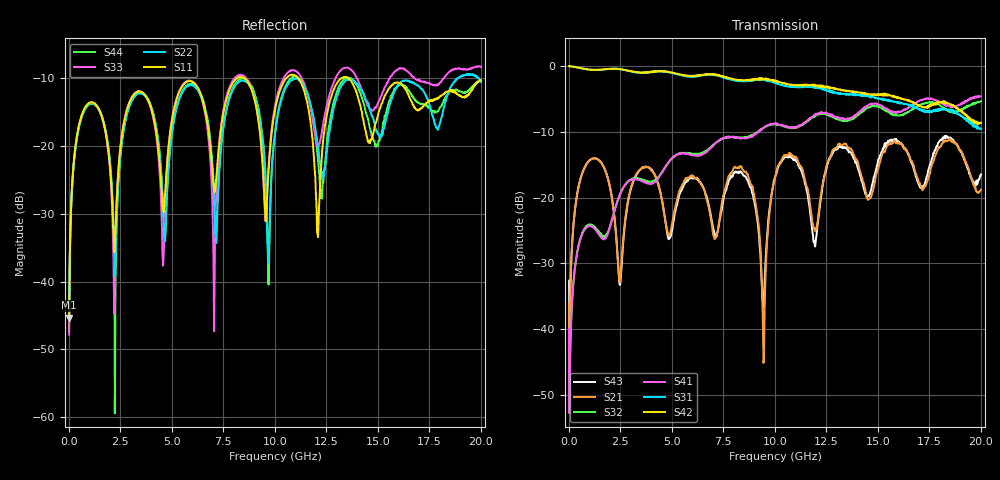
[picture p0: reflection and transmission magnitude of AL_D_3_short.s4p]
! FILE: C:\Documents and Settings\PLTS\デスクトップ\PED\GSGSG_500um\AL_D_3_short.s4p
# MHz S MA R 50.00
! FREQ  S11  S12  S13  S14
!  S21  S22  S23  S24
!  S31  S32  S33  S34
!  S41  S42  S43  S44
!  MAG  ANG  MAG  ANG  MAG  ANG  MAG  ANG
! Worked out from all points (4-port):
!   2000 points, 10 MHz to 20 GHz, reference 50 ohm
!   strongest paths, dB at 10 MHz, 5.01 GHz, 10.01 GHz, 15.01 GHz, 20 GHz:
!     S42: 0.0, -1.0, -2.3, -4.3, -8.7
!     S31: 0.0, -1.1, -2.6, -4.9, -9.6
!     S41: -39.9, -14.0, -8.8, -5.8, -4.6
!     S32: -43.4, -14.0, -8.8, -6.1, -5.3
!     S21: -36.0, -24.0, -16.9, -15.6, -18.8
!     S43: -32.6, -25.0, -16.9, -14.3, -16.5
!   lowest |S11| = -45.3 dB at 10 MHz (marker M1), VSWR 1.01, Z = 50 + j0.543 ohm
!   |S11| at or under -10 dB: start of sweep to 8.164 GHz; 11.12 GHz to 13.22 GHz (2.098 GHz wide, 17.2 % of centre); 13.56 GHz to end of sweep (the widest 3 of 4)
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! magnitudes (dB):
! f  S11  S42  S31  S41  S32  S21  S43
! 10 MHz  -45.3  0.0  0.0  -39.9  -43.4  -36.0  -32.6
! 1 GHz  -13.6  -0.5  -0.6  -24.3  -24.3  -14.4  -14.3
! 2.23 GHz  -34.8  -0.4  -0.4  -21.8  -21.8  -23.7  -23.5
! 3.34 GHz  -12.0  -1.0  -1.0  -17.3  -17.1  -16.1  -16.2
! 7.05 GHz  -26.6  -1.2  -1.3  -11.9  -11.8  -26.0  -25.2
! 8.17 GHz  -10.0  -2.1  -2.2  -10.9  -10.8  -15.5  -16.2
! 20 GHz  -10.3  -8.7  -9.6  -4.6  -5.3  -18.8  -16.5
